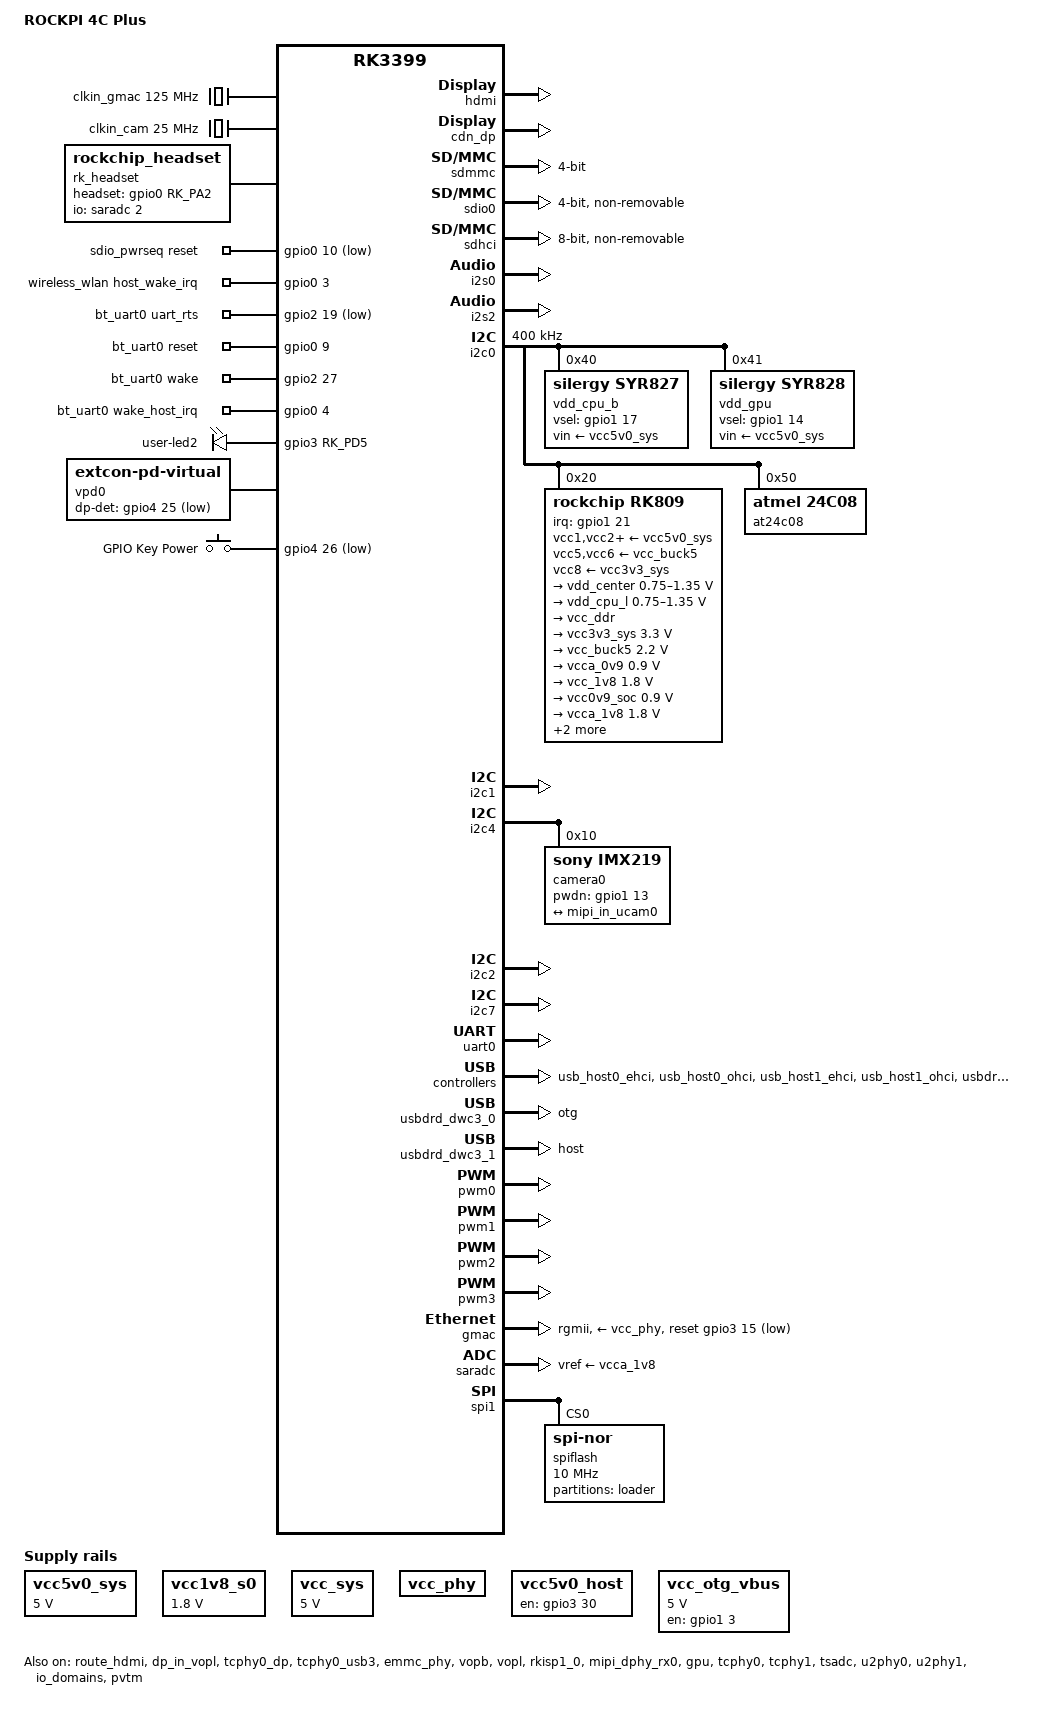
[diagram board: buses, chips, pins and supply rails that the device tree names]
/*
 * Copyright (c) 2016 Fuzhou Rockchip Electronics Co., Ltd
 *
 * This file is dual-licensed: you can use it either under the terms
 * of the GPL or the X11 license, at your option. Note that this dual
 * licensing only applies to this file, and not this project as a
 * whole.
 *
 *  a) This file is free software; you can redistribute it and/or
 *     modify it under the terms of the GNU General Public License as
 *     published by the Free Software Foundation; either version 2 of the
 *     License, or (at your option) any later version.
 *
 *     This file is distributed in the hope that it will be useful,
 *     but WITHOUT ANY WARRANTY; without even the implied warranty of
 *     MERCHANTABILITY or FITNESS FOR A PARTICULAR PURPOSE.  See the
 *     GNU General Public License for more details.
 *
 * Or, alternatively,
 *
 *  b) Permission is hereby granted, free of charge, to any person
 *     obtaining a copy of this software and associated documentation
 *     files (the "Software"), to deal in the Software without
 *     restriction, including without limitation the rights to use,
 *     copy, modify, merge, publish, distribute, sublicense, and/or
 *     sell copies of the Software, and to permit persons to whom the
 *     Software is furnished to do so, subject to the following
 *     conditions:
 *
 *     The above copyright notice and this permission notice shall be
 *     included in all copies or substantial portions of the Software.
 *
 *     THE SOFTWARE IS PROVIDED "AS IS", WITHOUT WARRANTY OF ANY KIND,
 *     EXPRESS OR IMPLIED, INCLUDING BUT NOT LIMITED TO THE WARRANTIES
 *     OF MERCHANTABILITY, FITNESS FOR A PARTICULAR PURPOSE AND
 *     NONINFRINGEMENT. IN NO EVENT SHALL THE AUTHORS OR COPYRIGHT
 *     HOLDERS BE LIABLE FOR ANY CLAIM, DAMAGES OR OTHER LIABILITY,
 *     WHETHER IN AN ACTION OF CONTRACT, TORT OR OTHERWISE, ARISING
 *     FROM, OUT OF OR IN CONNECTION WITH THE SOFTWARE OR THE USE OR
 *     OTHER DEALINGS IN THE SOFTWARE.
 */

/dts-v1/;

#include <dt-bindings/pwm/pwm.h>
#include <dt-bindings/input/input.h>
#include "rk3399.dtsi"
#include "rk3399-android.dtsi"
#include "rk3399-opp.dtsi"
#include "rk3399-vop-clk-set.dtsi"

&firmware_android {
	status = "disabled";
	compatible = "android,firmware";
	boot_devices = "fe330000.sdhci";
	vbmeta {
		status = "disabled";
		compatible = "android,vbmeta";
		parts = "vbmeta,boot,system,vendor,dtbo";
	};
	fstab {
		status = "disabled";
		compatible = "android,fstab";
		vendor {
			compatible = "android,vendor";
			dev = "/dev/block/by-name/vendor";
			type = "ext4";
			mnt_flags = "ro,barrier=1,inode_readahead_blks=8";
			fsmgr_flags = "wait,avb";
		};
	};
};

/ {

	model = "ROCKPI 4C Plus";
	compatible = "rockchip,rockpi","rockchip,rk3399";
	chosen {
	bootargs = "earlycon=uart8250,mmio32,0xff1a0000 swiotlb=1 console=ttyFIQ0 androidboot.baseband=N/A androidboot.veritymode=enforcing androidboot.hardware=rk30board androidboot.console=ttyFIQ0 init=/init initrd=0x62000001,0x00800000 coherent_pool=1m";
	};

	vcc5v0_sys: vcc5v0-sys {
		compatible = "regulator-fixed";
		regulator-name = "vcc5v0_sys";
		regulator-always-on;
		regulator-boot-on;
		regulator-min-microvolt = <5000000>;
		regulator-max-microvolt = <5000000>;
	}; 

	vcc1v8_s0: vcc1v8-s0 {
		compatible = "regulator-fixed";
		regulator-name = "vcc1v8_s0";
		regulator-min-microvolt = <1800000>;
		regulator-max-microvolt = <1800000>;
		regulator-always-on;
	};

	vcc_sys: vcc-sys {
		compatible = "regulator-fixed";
		regulator-name = "vcc_sys";
		regulator-min-microvolt = <5000000>;
		regulator-max-microvolt = <5000000>;
		regulator-always-on;
	};

	vcc_phy: vcc-phy-regulator {
		compatible = "regulator-fixed";
		regulator-name = "vcc_phy";
		regulator-always-on;
		regulator-boot-on;
	};

	vcc5v0_host: vcc5v0-host-regulator {
		compatible = "regulator-fixed";
		enable-active-high;
		gpio = <&gpio3 30 GPIO_ACTIVE_HIGH>;
		pinctrl-names = "default";
		pinctrl-0 = <&host_vbus_drv>;
		regulator-name = "vcc5v0_host";
		regulator-always-on;
		regulator-boot-on;
	};

	vcc_otg_vbus: otg-vbus-regulator {
		compatible = "regulator-fixed";
		gpio = <&gpio1 3 GPIO_ACTIVE_HIGH>;
		pinctrl-names = "default";
		pinctrl-0 = <&otg_vbus_drv>;
		regulator-name = "vcc_otg_vbus";
		regulator-min-microvolt = <5000000>;
		regulator-max-microvolt = <5000000>;
		enable-active-high;
	};

	clkin_gmac: external-gmac-clock {
		compatible = "fixed-clock";
		clock-frequency = <125000000>;
		clock-output-names = "clkin_gmac";
		#clock-cells = <0>;
	};

	clkin_cam: external-camera-clock {
		compatible = "fixed-clock";
		clock-frequency = <25000000>;
		clock-output-names = "cam_clk";
		#clock-cells = <0>;
	};

	rk809_sound: rk809-sound {
		status = "okay";
		compatible = "simple-audio-card";
		simple-audio-card,format = "i2s";
		simple-audio-card,name = "rockchip,rk809-codec";
		simple-audio-card,mclk-fs = <256>;
		simple-audio-card,widgets =
			"Microphone", "Mic Jack",
			"Headphone", "Headphone Jack";
		simple-audio-card,routing =
			"Mic Jack", "MICBIAS1",
			"IN1P", "Mic Jack",
			"Headphone Jack", "HPOL",
			"Headphone Jack", "HPOR";
		simple-audio-card,cpu {
			sound-dai = <&i2s0>;
		};
		simple-audio-card,codec {
			sound-dai = <&rk809_codec>;
		};
	};

	rk_headset: rk-headset {
		status = "okay";
		compatible = "rockchip_headset";
		headset_gpio = <&gpio0 RK_PA2 GPIO_ACTIVE_HIGH>;
		pinctrl-names = "default";
		pinctrl-0 = <&hp_det>;
		io-channels = <&saradc 2>;    //HP_HOOK引脚
	};

	hdmi_sound: hdmi-sound {
		status = "disabled";
		compatible = "simple-audio-card";
		simple-audio-card,format = "i2s";
		simple-audio-card,mclk-fs = <256>;
		simple-audio-card,name = "rockchip,hdmi";

		simple-audio-card,cpu {
			sound-dai = <&i2s2>;
		};
		simple-audio-card,codec {
			sound-dai = <&dw_hdmi_audio>;
		};
	};

	dw_hdmi_audio: dw-hdmi-audio {
		status = "disabled";
		compatible = "rockchip,dw-hdmi-audio";
		#sound-dai-cells = <0>;
	};

	hdmi_codec: hdmi-codec {
		compatible = "simple-audio-card";
		simple-audio-card,format = "i2s";
		simple-audio-card,mclk-fs = <256>;
		simple-audio-card,name = "rockchiphdmi";

		simple-audio-card,cpu {
			sound-dai = <&i2s2>;
		};

		simple-audio-card,codec {
			sound-dai = <&hdmi>;
		};
	};

	spdif-sound {
		status = "disabled";
		compatible = "simple-audio-card";
		simple-audio-card,name = "ROCKCHIP,SPDIF";
		simple-audio-card,cpu {
			sound-dai = <&spdif>;
		};
		simple-audio-card,codec {
			sound-dai = <&spdif_out>;
		};
	};

	spdif_out: spdif-out {
		status = "disabled";
		compatible = "linux,spdif-dit";
		#sound-dai-cells = <0>;
	};

	sdio_pwrseq: sdio-pwrseq {
		compatible = "mmc-pwrseq-simple";
		clocks = <&rk809 1>;
		clock-names = "ext_clock";
		pinctrl-names = "default";
		pinctrl-0 = <&wifi_enable_h>;

		/*
		 * On the module itself this is one of these (depending
		 * on the actual card populated):
		 * - SDIO_RESET_L_WL_REG_ON
		 * - PDN (power down when low)
		 */
		reset-gpios = <&gpio0 10 GPIO_ACTIVE_LOW>;
	};

	wireless_wlan: wireless-wlan {
		compatible = "wlan-platdata";
		rockchip,grf = <&grf>;
		wifi_chip_type = "ap6256";
		sdio_vref = <1800>;
		WIFI,host_wake_irq = <&gpio0 3 GPIO_ACTIVE_HIGH>;
		status = "okay";
	};

	bt_uart0: wireless_bluetooth: wireless-bluetooth {
		compatible = "bluetooth-platdata";
		clocks = <&rk809 1>;
		clock-names = "ext_clock";
		/* wifi-bt-power-toggle; */
		uart_rts_gpios = <&gpio2 19 GPIO_ACTIVE_LOW>;
		pinctrl-names = "default", "rts_gpio";
		pinctrl-0 = <&uart0_rts>;
		pinctrl-1 = <&uart0_gpios>;
		/* BT,power_gpio  = <&gpio3 19 GPIO_ACTIVE_HIGH>; */
		BT,reset_gpio    = <&gpio0 9 GPIO_ACTIVE_HIGH>;
		BT,wake_gpio     = <&gpio2 27 GPIO_ACTIVE_HIGH>;
		BT,wake_host_irq = <&gpio0 4 GPIO_ACTIVE_HIGH>;
		status = "okay";
	};

	gpio-leds {
		compatible = "gpio-leds";
		status = "okay";

		user-led2 {
			gpios = <&gpio3 RK_PD5 GPIO_ACTIVE_HIGH>;
			linux,default-trigger = "heartbeat";
			default-state = "on";
		};
	};

	test-power {
		status = "okay";
	};

	vpd0: virtual-pd0 {
		compatible = "linux,extcon-pd-virtual";
		dp-det-gpios = <&gpio4 25 GPIO_ACTIVE_LOW>;
		/* 0: positive, 1: negative*/
		vpd,init-flip = <0>;
		/* 0: u2, 1: u3*/
		vpd,init-ss = <1>;
		/* 0: dfp, 1: ufp, 2: dp 3: dp/ufp */
		vpd,init-mode = <2>;
	};
};

&hdmi {
	pinctrl-names = "default";
	pinctrl-0 = <&hdmi_i2c_xfer>, <&hdmi_cec>;
	status = "okay";
	rockchip,phy-table =
		<74250000 0x8009 0x0004 0x0272>,
		<165000000 0x802b 0x0004 0x0209>,
		<297000000 0x8039 0x0005 0x028d>,
		<594000000 0x8039 0x0000 0x019d>,
		<000000000 0x0000 0x0000 0x0000>;
};

&dsi {
    status = "disabled";
    rockchip,dual-channel = <&dsi1>;
    enable-gpios = <&gpio1 RK_PC6 GPIO_ACTIVE_HIGH>;

    panel: panel@0 {
        compatible ="simple-panel-dsi";
        reg = <0>;
        status = "okay";

        dsi,flags = <(MIPI_DSI_MODE_VIDEO | MIPI_DSI_MODE_VIDEO_BURST)>;
        dsi,format = <MIPI_DSI_FMT_RGB888>;
        dsi,lanes = <4>;

        display-timings {
            native-mode = <&timing0>;

            timing0: timing0 {
                clock-frequency = <67000000>;
                hactive = <1920>;
                vactive = <1080>;
                hback-porch = <120>;
                hfront-porch = <12>;
                vback-porch = <4>;
                vfront-porch = <4>;
                hsync-len = <112>;
                vsync-len = <12>;
                hsync-active = <0>;
                vsync-active = <0>;
                de-active = <0>;
                pixelclk-active = <0>;
            };
        };
    };
};

&dsi1 {
    status = "disabled";
};

&hdmi_in_vopl {
	status = "disabled";
};

&route_hdmi {
	status = "okay";
};

&dp_in_vopb {
	status = "disabled";
};

&dp_in_vopl {
	status = "okay";
};

&edp_in_vopl {
	status = "disabled";
};

&edp_in_vopb {
	status = "disabled";
};

&edp_in_vopl {
	status = "disabled";
};

&dsi_in_vopl {
    status = "disabled";
};

&dsi_in_vopb {
    status = "disabled";
};

&dsi1_in_vopl {
    status = "disabled";
};

&dsi1_in_vopb {
    status = "disabled";
};

&tcphy0_dp {
	status = "okay";
};

&tcphy0_usb3 {
	status = "okay";
};

&cdn_dp {
	status = "okay";
	extcon = <&vpd0>;
};

&sdmmc {
	clock-frequency = <100000000>;
	clock-freq-min-max = <100000 100000000>;
	supports-sd;
	bus-width = <4>;
	cap-mmc-highspeed;
	cap-sd-highspeed;
	disable-wp;
	num-slots = <1>;
	// sd-uhs-sdr104;
	vqmmc-supply = <&vcc_sd>;
	pinctrl-names = "default";
	pinctrl-0 = <&sdmmc_clk &sdmmc_cmd &sdmmc_cd &sdmmc_bus4>;
	card-detect-delay = <800>;
	status = "okay";
};

&sdio0 {
	clock-frequency = <100000000>;
	clock-freq-min-max = <200000 100000000>;
	supports-sdio;
	bus-width = <4>;
	disable-wp;
	cap-sd-highspeed;
	cap-sdio-irq;
	keep-power-in-suspend;
	mmc-pwrseq = <&sdio_pwrseq>;
	non-removable;
	num-slots = <1>;
	pinctrl-names = "default";
	pinctrl-0 = <&sdio0_bus4 &sdio0_cmd &sdio0_clk>;
	sd-uhs-sdr104;
	status = "okay";
};

&emmc_phy {
	status = "okay";
};

&sdhci {
	max-frequency = <150000000>;
	bus-width = <8>;
	mmc-hs400-1_8v;
	supports-emmc;
	non-removable;
	mmc-hs400-enhanced-strobe;
	status = "okay";
};

&i2s0 {
	status = "okay";
	rockchip,i2s-broken-burst-len;
	rockchip,playback-channels = <2>;
	rockchip,capture-channels = <2>;
	#sound-dai-cells = <0>;
	pinctrl-names = "default";
	pinctrl-0 = <&i2s0_8ch_bus>;
};

&i2s1 {
	status = "disabled";
	#sound-dai-cells = <0>;
};

&i2s2 {
	#sound-dai-cells = <0>;
};

&spdif {
	pinctrl-0 = <&spdif_bus_1>;
	status = "disabled";
	#sound-dai-cells = <0>;
};

&i2c0 {
	status = "okay";
	i2c-scl-rising-time-ns = <168>;
	i2c-scl-falling-time-ns = <4>;
	clock-frequency = <400000>;

	vdd_cpu_b: syr827@40 {
		compatible = "silergy,syr827";
		reg = <0x40>;
		regulator-compatible = "fan53555-reg";
		pinctrl-0 = <&vsel1_gpio>;
		vsel-gpios = <&gpio1 17 GPIO_ACTIVE_HIGH>;
		regulator-name = "vdd_cpu_b";
		regulator-min-microvolt = <712500>;
		regulator-max-microvolt = <1500000>;
		regulator-ramp-delay = <1000>;
		fcs,suspend-voltage-selector = <1>;
		regulator-always-on;
		regulator-boot-on;
		vin-supply = <&vcc5v0_sys>;
		regulator-state-mem {
			regulator-off-in-suspend;
		};
	};

	vdd_gpu: syr828@41 {
		compatible = "silergy,syr828";
		reg = <0x41>;
		regulator-compatible = "fan53555-reg";
		pinctrl-0 = <&vsel2_gpio>;
		vsel-gpios = <&gpio1 14 GPIO_ACTIVE_HIGH>;
		regulator-name = "vdd_gpu";
		regulator-min-microvolt = <712500>;
		regulator-max-microvolt = <1500000>;
		regulator-ramp-delay = <1000>;
		fcs,suspend-voltage-selector = <1>;
		regulator-always-on;
		regulator-boot-on;
		vin-supply = <&vcc5v0_sys>;
		regulator-initial-mode = <1>; /* 1:force PWM 2:auto */
		regulator-state-mem {
			regulator-off-in-suspend;
		};
	};

	rk809: pmic@20 {
		compatible = "rockchip,rk809";
		reg = <0x20>;
		interrupt-parent = <&gpio1>;
		interrupts = <21 IRQ_TYPE_LEVEL_LOW>;
		pinctrl-names = "default", "pmic-sleep",
						"pmic-power-off", "pmic-reset";
		pinctrl-0 = <&pmic_int_l>;
		pinctrl-1 = <&soc_slppin_slp>, <&rk809_slppin_slp>;
		pinctrl-2 = <&soc_slppin_gpio>, <&rk809_slppin_pwrdn>;
		pinctrl-3 = <&soc_slppin_gpio>, <&rk809_slppin_null>;
		rockchip,system-power-controller;
		#clock-cells = <1>;
		pmic-reset-func = <0>;
		wakeup-source;
		clock-output-names = "rk808-clkout1", "rk808-clkout2";

		vcc1-supply = <&vcc5v0_sys>;
		vcc2-supply = <&vcc5v0_sys>;
		vcc3-supply = <&vcc5v0_sys>;
		vcc4-supply = <&vcc5v0_sys>;
		vcc5-supply = <&vcc_buck5>;
		vcc6-supply = <&vcc_buck5>;
		vcc7-supply = <&vcc5v0_sys>;
		vcc8-supply = <&vcc3v3_sys>;
		vcc9-supply = <&vcc5v0_sys>;

		pwrkey {
				status = "okay";
		};

		rk809_rtc: rtc {
				status = "okay";
		};

		pinctrl_rk8xx: pinctrl_rk8xx {
				gpio-controller;
				#gpio-cells = <2>;

				rk809_slppin_null: rk809_slppin_null {
								pins = "gpio_slp";
								function = "pin_fun0";
				};

				rk809_slppin_slp: rk809_slppin_slp {
								pins = "gpio_slp";
								function = "pin_fun1";
				};

				rk809_slppin_pwrdn: rk809_slppin_pwrdn {
								pins = "gpio_slp";
								function = "pin_fun2";
				};

				rk809_slppin_rst: rk809_slppin_rst {
								pins = "gpio_slp";
								function = "pin_fun3";
				};
		};

		regulators {
			vdd_center: DCDC_REG1 {
				regulator-always-on;
				regulator-boot-on;
				regulator-min-microvolt = <750000>;
				regulator-max-microvolt = <1350000>;
				regulator-ramp-delay = <6001>;
				regulator-initial-mode = <0x2>;
				regulator-name = "vdd_center";
				regulator-state-mem {
					regulator-off-in-suspend;
				};
			};

			vdd_cpu_l: DCDC_REG2 {
				regulator-always-on;
				regulator-boot-on;
				regulator-min-microvolt = <750000>;
				regulator-max-microvolt = <1350000>;
				regulator-ramp-delay = <6001>;
				regulator-initial-mode = <0x2>;
				regulator-name = "vdd_cpu_l";
				regulator-state-mem {
					regulator-off-in-suspend;
				};
			};

			vcc_ddr: DCDC_REG3 {
				regulator-always-on;
				regulator-boot-on;
				regulator-name = "vcc_ddr";
				regulator-initial-mode = <0x2>;
				regulator-state-mem {
					regulator-on-in-suspend;
				};
			};

			vcc3v3_sys: DCDC_REG4 {
				regulator-always-on;
				regulator-boot-on;
				regulator-min-microvolt = <3300000>;
				regulator-max-microvolt = <3300000>;
				regulator-initial-mode = <0x2>;
				regulator-name = "vcc3v3_sys";
				regulator-state-mem {
					regulator-on-in-suspend;
					regulator-suspend-microvolt = <3300000>;
				};
			};

			vcc_buck5: DCDC_REG5 {
				regulator-always-on;
				regulator-boot-on;
				regulator-min-microvolt = <2200000>;
				regulator-max-microvolt = <2200000>;
				regulator-name = "vcc_buck5";
				regulator-state-mem {
					regulator-on-in-suspend;
					regulator-suspend-microvolt = <2200000>;
				};
			};

			vcca_0v9: LDO_REG1 {
				regulator-always-on;
				regulator-boot-on;
				regulator-min-microvolt = <900000>;
				regulator-max-microvolt = <900000>;
				regulator-name = "vcca_0v9";
				regulator-state-mem {
					regulator-off-in-suspend;
				};
			};

			vcc_1v8: LDO_REG2 {
				regulator-always-on;
				regulator-boot-on;
				regulator-min-microvolt = <1800000>;
				regulator-max-microvolt = <1800000>;

				regulator-name = "vcc_1v8";
				regulator-state-mem {
					regulator-on-in-suspend;
					regulator-suspend-microvolt = <1800000>;
				};
			};

			vcc0v9_soc: LDO_REG3 {
				regulator-always-on;
				regulator-boot-on;
				regulator-min-microvolt = <900000>;
				regulator-max-microvolt = <900000>;

				regulator-name = "vcc0v9_soc";
				regulator-state-mem {
					regulator-on-in-suspend;
					regulator-suspend-microvolt = <900000>;
				};
			};

			vcca_1v8: LDO_REG4 {
				regulator-always-on;
				regulator-boot-on;
				regulator-min-microvolt = <1800000>;
				regulator-max-microvolt = <1800000>;

				regulator-name = "vcca_1v8";
				regulator-state-mem {
					regulator-off-in-suspend;
				};
			};

			vdd1v5_dvp: LDO_REG5 {
				regulator-always-on;
				regulator-boot-on;
				regulator-min-microvolt = <1500000>;
				regulator-max-microvolt = <1500000>;

				regulator-name = "vdd1v5_dvp";
				regulator-state-mem {
					regulator-off-in-suspend;
				};
			};

			vcc_1v5: LDO_REG6 {
				regulator-always-on;
				regulator-boot-on;
				regulator-min-microvolt = <1500000>;
				regulator-max-microvolt = <1500000>;

				regulator-name = "vcc_1v5";
				regulator-state-mem {
					regulator-off-in-suspend;
				};
			};

			vcc_3v0: LDO_REG7 {
				regulator-always-on;
				regulator-boot-on;
				regulator-min-microvolt = <3000000>;
				regulator-max-microvolt = <3000000>;

				regulator-name = "vcc_3v0";
				regulator-state-mem {
					regulator-off-in-suspend;
				};
			};

			vccio_sd: LDO_REG8 {
				regulator-always-on;
				regulator-boot-on;
				regulator-min-microvolt = <1800000>;
				regulator-max-microvolt = <3300000>;

				regulator-name = "vccio_sd";
				regulator-state-mem {
					regulator-off-in-suspend;
				};
			};

			vcc_sd: LDO_REG9 {
				regulator-always-on;
				regulator-boot-on;
				regulator-min-microvolt = <3300000>;
				regulator-max-microvolt = <3300000>;

				regulator-name = "vcc_sd";
				regulator-state-mem {
					regulator-off-in-suspend;
				};
			};

			vcc5v0_usb: SWITCH_REG1 {
				regulator-always-on;
				regulator-boot-on;
				regulator-name = "vcc5v0_usb";
				regulator-state-mem {
					regulator-on-in-suspend;
				};
			};

			vccio_3v3: SWITCH_REG2 {
				regulator-always-on;
				regulator-boot-on;
				regulator-name = "vccio_3v3";
				regulator-state-mem {
					regulator-off-in-suspend;
				};
			};
		};
		/*
		battery {
			compatible = "rk817,battery";
			ocv_table = <7000 7250 7370 7384 7436 7470 7496
						7520 7548 7576 7604 7632 7668 7706
						7754 7816 7892 7950 8036 8142 8212>;
			design_capacity = <2500>;
			design_qmax = <2750>;
			bat_res = <100>;
			sleep_enter_current = <300>;
			sleep_exit_current = <300>;
			sleep_filter_current = <100>;
			power_off_thresd = <7000>;
			zero_algorithm_vol = <7700>;
			max_soc_offset = <60>;
			monitor_sec = <5>;
			sample_res = <10>;
			virtual_power = <0>;
			bat_res_up = <140>;
			bat_res_down = <20>;
		};
		*/
		rk809_codec: codec {
			#sound-dai-cells = <0>;
			compatible = "rockchip,rk809-codec", "rockchip,rk817-codec";
			clocks = <&cru SCLK_I2S_8CH_OUT>;
			clock-names = "mclk";
			pinctrl-names = "default";
			pinctrl-0 = <&i2s_8ch_mclk>;
			hp-volume = <20>;
			spk-volume = <3>;
			mic-in-differential;
			status = "okay";
		};
	};

    at24c08@50 {
        status = "okay";
        compatible = "atmel,24c08";
        reg = <0x50>;
        pagesize = <8>;
    };
};

&i2c1 {
	status = "okay";
	i2c-scl-rising-time-ns = <300>;
	i2c-scl-falling-time-ns = <15>;

};

&i2c4 {
	status = "okay";

	camera0: camera0-module@10 {
		status = "okay";
		compatible = "sony,imx219";
		reg = <0x10>;

		clocks = <&cru SCLK_CIF_OUT>;
		clock-names = "clk_cif_out";
		pinctrl-names = "rockchip,camera_default";
		pwdn-gpios = <&gpio1 13 GPIO_ACTIVE_HIGH>;
		rockchip,camera-module-index = <0>;
		rockchip,camera-module-facing = "back";
		rockchip,camera-module-name = "default";
		rockchip,camera-module-lens-name = "default";

		port {
			ucam_out0: endpoint {
				remote-endpoint = <&mipi_in_ucam0>;
				data-lanes = <1 2>;
			};
		};
	};

	camera1: camera1-module@36 {
		status = "disabled";
		compatible = "ovti,ov5647";
		reg = <0x36>;

		clocks = <&clkin_cam>;
		clock-names = "xclk";
		pinctrl-names = "rockchip,camera_default";
		pwdn-gpios = <&gpio1 13 GPIO_ACTIVE_HIGH>;
		rockchip,camera-module-index = <0>;
		rockchip,camera-module-facing = "back";
		rockchip,camera-module-name = "default";
		rockchip,camera-module-lens-name = "default";

		port {
			ucam_out1: endpoint {
				remote-endpoint = <&mipi_in_ucam0>;
				data-lanes = <1 2>;
			};
		};
	};
	camera2: camera2-module@36 {
		status = "disabled";
		compatible = "ovti,ov5648";
		reg = <0x36>;

		clocks = <&cru SCLK_CIF_OUT>;
		clock-names = "xvclk";
		pinctrl-names = "rockchip,camera_default";
		pwdn-gpios = <&gpio1 13 GPIO_ACTIVE_HIGH>;

		rockchip,camera-module-index = <0>;
		rockchip,camera-module-facing = "back";
		rockchip,camera-module-name = "default";
		rockchip,camera-module-lens-name = "default";

		port {
			ucam_out2: endpoint {
				remote-endpoint = <&mipi_in_ucam0>;
				data-lanes = <1 2>;
			};
		};
	};
};

&i2c2 {
	status = "okay";
};

&i2c6 {
	status = "disabled";
};

&i2c7 {
	status = "okay";
};

&vopb {
	status = "okay";
};

&vopb_mmu {
	status = "okay";
};

&vopl {
	status = "okay";
};

&vopl_mmu {
	status = "okay";
};

&rkisp1_0 {
	status = "okay";
	port {
		#address-cells = <1>;
		#size-cells = <0>;

		isp0_mipi_in: endpoint@0 {
			reg = <0>;
			remote-endpoint = <&dphy_rx0_out>;
		};
	};
};

&mipi_dphy_rx0 {
	status = "okay";

	ports {
		#address-cells = <1>;
		#size-cells = <0>;

		port@0 {
			reg = <0>;
			#address-cells = <1>;
			#size-cells = <0>;

			mipi_in_ucam0: endpoint@1 {
				reg = <1>;
				remote-endpoint = <&ucam_out0>;
				data-lanes = <1 2>;
			};
		};

		port@1 {
			reg = <1>;
			#address-cells = <1>;
			#size-cells = <0>;

			dphy_rx0_out: endpoint@0 {
				reg = <0>;
				remote-endpoint = <&isp0_mipi_in>;
			};
		};
	};
};

&isp0_mmu {
    status = "okay";
};


&isp1_mmu {
	status = "disabled";
};


&cpu_l0 {
	cpu-supply = <&vdd_cpu_l>;
};

&cpu_l1 {
	cpu-supply = <&vdd_cpu_l>;
};

&cpu_l2 {
	cpu-supply = <&vdd_cpu_l>;
};

&cpu_l3 {
	cpu-supply = <&vdd_cpu_l>;
};

&cpu_b0 {
	cpu-supply = <&vdd_cpu_b>;
};

&cpu_b1 {
	cpu-supply = <&vdd_cpu_b>;
};

&gpu {
	status = "okay";
	mali-supply = <&vdd_gpu>;
};

&threshold {
	temperature = <85000>;
};

&target {
	temperature = <100000>;
};

&soc_crit {
	temperature = <105000>;
};

&tcphy0 {
	extcon = <&vpd0>;
	status = "okay";
};

&tcphy1 {
	status = "okay";
};

&tsadc {
	/* tshut mode 0:CRU 1:GPIO */
	rockchip,hw-tshut-mode = <1>;
	/* tshut polarity 0:LOW 1:HIGH */
	rockchip,hw-tshut-polarity = <1>;
	rockchip,hw-tshut-temp = <110000>;
	status = "okay";
};

&u2phy0 {
	status = "okay";

	u2phy0_otg: otg-port {
		vbus-supply = <&vcc_otg_vbus>;
		status = "okay";
	};

	u2phy0_host: host-port {
		phy-supply = <&vcc5v0_host>;
		status = "okay";
	};
};

&u2phy1 {
	status = "okay";

	u2phy1_otg: otg-port {
		status = "okay";
	};

	u2phy1_host: host-port {
		phy-supply = <&vcc5v0_host>;
		status = "okay";
	};
};

&uart0 {
	pinctrl-names = "default";
	pinctrl-0 = <&uart0_xfer &uart0_cts>;
	status = "okay";
};

&uart2 {
	status = "disabled";
};

/*&uart4 {
	status = "okay";
}; */

&usb_host0_ehci {
	status = "okay";
};

&usb_host0_ohci {
	status = "okay";
};

&usb_host1_ehci {
	status = "okay";
};

&usb_host1_ohci {
	status = "okay";
};

&usbdrd3_0 {
	status = "okay";
};

&usbdrd_dwc3_0 {
	dr_mode = "otg";
	extcon = <&u2phy0>;
	status = "okay";
};

&usbdrd3_1 {
	status = "okay";
};

&usbdrd_dwc3_1 {
	dr_mode = "host";
	status = "okay";
};

&usb_host0_ehci {
	status = "okay";
};

&usb_host0_ohci {
	status = "okay";
};

&usb_host1_ehci {
	status = "okay";
};

&usb_host1_ohci {
	status = "okay";
};

&pwm0 {
	status = "okay";
};

&pwm1 {
	status = "okay";
};

&pwm2 {
	status = "okay";
};

&pwm3 {
	status = "okay";

	interrupts = <GIC_SPI 61 IRQ_TYPE_LEVEL_HIGH 0>;
	compatible = "rockchip,remotectl-pwm";
	remote_pwm_id = <3>;
	handle_cpu_id = <1>;
	remote_support_psci = <1>;

	ir_key1 {
		rockchip,usercode = <0x4040>;
		rockchip,key_table =
			<0xf2	KEY_REPLY>,
			<0xba	KEY_BACK>,
			<0xf4	KEY_UP>,
			<0xf1	KEY_DOWN>,
			<0xef	KEY_LEFT>,
			<0xee	KEY_RIGHT>,
			<0xbd	KEY_HOME>,
			<0xea	KEY_VOLUMEUP>,
			<0xe3	KEY_VOLUMEDOWN>,
			<0xe2	KEY_SEARCH>,
			<0xb2	KEY_POWER>,
			<0xbc	KEY_MUTE>,
			<0xec	KEY_MENU>,
			<0xbf	0x190>,
			<0xe0	0x191>,
			<0xe1	0x192>,
			<0xe9	183>,
			<0xe6	248>,
			<0xe8	185>,
			<0xe7	186>,
			<0xf0	388>,
			<0xbe	0x175>;
	};

	ir_key2 {
		rockchip,usercode = <0xff00>;
		rockchip,key_table =
			<0xf9	KEY_HOME>,
			<0xbf	KEY_BACK>,
			<0xfb	KEY_MENU>,
			<0xaa	KEY_REPLY>,
			<0xb9	KEY_UP>,
			<0xe9	KEY_DOWN>,
			<0xb8	KEY_LEFT>,
			<0xea	KEY_RIGHT>,
			<0xeb	KEY_VOLUMEDOWN>,
			<0xef	KEY_VOLUMEUP>,
			<0xf7	KEY_MUTE>,
			<0xe7	KEY_POWER>,
			<0xfc	KEY_POWER>,
			<0xa9	KEY_VOLUMEDOWN>,
			<0xa8	KEY_VOLUMEDOWN>,
			<0xe0	KEY_VOLUMEDOWN>,
			<0xa5	KEY_VOLUMEDOWN>,
			<0xab	183>,
			<0xb7	388>,
			<0xe8	388>,
			<0xf8	184>,
			<0xaf	185>,
			<0xed	KEY_VOLUMEDOWN>,
			<0xee	186>,
			<0xb3	KEY_VOLUMEDOWN>,
			<0xf1	KEY_VOLUMEDOWN>,
			<0xf2	KEY_VOLUMEDOWN>,
			<0xf3	KEY_SEARCH>,
			<0xb4	KEY_VOLUMEDOWN>,
			<0xbe	KEY_SEARCH>;
	};

	ir_key3 {
		rockchip,usercode = <0x1dcc>;
		rockchip,key_table =
			<0xee	KEY_REPLY>,
			<0xf0	KEY_BACK>,
			<0xf8	KEY_UP>,
			<0xbb	KEY_DOWN>,
			<0xef	KEY_LEFT>,
			<0xed	KEY_RIGHT>,
			<0xfc	KEY_HOME>,
			<0xf1	KEY_VOLUMEUP>,
			<0xfd	KEY_VOLUMEDOWN>,
			<0xb7	KEY_SEARCH>,
			<0xff	KEY_POWER>,
			<0xf3	KEY_MUTE>,
			<0xbf	KEY_MENU>,
			<0xf9	0x191>,
			<0xf5	0x192>,
			<0xb3	388>,
			<0xbe	KEY_1>,
			<0xba	KEY_2>,
			<0xb2	KEY_3>,
			<0xbd	KEY_4>,
			<0xf9	KEY_5>,
			<0xb1	KEY_6>,
			<0xfc	KEY_7>,
			<0xf8	KEY_8>,
			<0xb0	KEY_9>,
			<0xb6	KEY_0>,
			<0xb5	KEY_BACKSPACE>;
	};
};

&gpio_keys {
    status = "okay";
    autorepeat;
	pinctrl-names = "default";
	pinctrl-0 = <&pwrbtn>;

	power {
		debounce-interval = <100>;
		gpios = <&gpio4 26 GPIO_ACTIVE_LOW>;
		label = "GPIO Key Power";
		linux,code = <KEY_POWER>;
		wakeup-source;
	};
};

&gmac {
	phy-supply = <&vcc_phy>;
	phy-mode = "rgmii";
	clock_in_out = "input";
	snps,reset-gpio = <&gpio3 15 GPIO_ACTIVE_LOW>;
	snps,reset-active-low;
	snps,reset-delays-us = <0 10000 50000>;
	assigned-clocks = <&cru SCLK_RMII_SRC>;
	assigned-clock-parents = <&clkin_gmac>;
	pinctrl-names = "default", "sleep";
	pinctrl-0 = <&rgmii_pins>;
	pinctrl-1 = <&rgmii_sleep_pins>;
	tx_delay = <0x28>;
	rx_delay = <0x11>;
	status = "okay";
};

&saradc {
	status = "okay";
	vref-supply = <&vcca_1v8>;
};

&i2s2 {
	status = "okay";
};

&io_domains {
	status = "okay";

	bt656-supply = <&vcc_1v5>; /* bt656_gpio2ab_ms */
	audio-supply = <&vcca_1v8>; /* audio_gpio3d4a_ms */
	sdmmc-supply = <&vccio_sd>; /* sdmmc_gpio4b_ms */
	gpio1830-supply = <&vcc_3v0>; /* gpio1833_gpio4cd_ms */
};

&pcie_phy {
	status = "disabled";
};

&pcie0 {
	ep-gpios = <&gpio4 RK_PD3 GPIO_ACTIVE_HIGH>;
	num-lanes = <4>;
	pinctrl-names = "default";
	pinctrl-0 = <&pcie_clkreqnb_cpm>;
	status = "disalbed";
};

&spi1 {
	status = "okay";
	max-freq = <10000000>;

	spidev@0 {
	    compatible = "rockchip,spidev";
	    status = "disabled";
	    spi-max-frequency = <10000000>;
	    reg = <0x0>;
    };

	spiflash: spi-flash@0 {
		#address-cells = <0x1>;
		#size-cells = <1>;
		compatible = "jedec,spi-nor";
		reg = <0x0>;
		spi-max-frequency = <10000000>;
		status = "okay";

		partitions {
			compatible = "fixed-partitions";
			#address-cells = <1>;
			#size-cells = <1>;

			loader@0 {
				label = "loader";
				reg = <0x0 0x400000>;
			};
		};
	};
};

/*&spi2 {
	status = "okay";
	max-freq = <48000000>;

	spidev@0 {
	    compatible = "rockchip,spidev";
	    spi-max-frequency = <48000000>;
	    status = "okay";
	    reg = <0x0>;
    };
};*/

&dmc {
	status = "disabled";
	center-supply = <&vdd_center>;
	upthreshold = <40>;
	downdifferential = <20>;
	system-status-freq = <
		/*system status         freq(KHz)*/
		SYS_STATUS_NORMAL       800000
		SYS_STATUS_REBOOT       528000
		SYS_STATUS_SUSPEND      200000
		SYS_STATUS_VIDEO_1080P  200000
		SYS_STATUS_VIDEO_4K     600000
		SYS_STATUS_VIDEO_4K_10B 800000
		SYS_STATUS_PERFORMANCE  800000
		SYS_STATUS_BOOST        400000
		SYS_STATUS_DUALVIEW     600000
		SYS_STATUS_ISP          600000
	>;
	vop-bw-dmc-freq = <
	/* min_bw(MB/s) max_bw(MB/s) freq(KHz) */
		0       762      200000
		763     1893     400000
		1894    3012     528000
		3013    99999    800000
	>;

	auto-min-freq = <200000>;
};

&pinctrl {
	sdio0 {
		sdio0_bus1: sdio0-bus1 {
			rockchip,pins =
				<2 20 RK_FUNC_1 &pcfg_pull_up_20ma>;
		};

		sdio0_bus4: sdio0-bus4 {
			rockchip,pins =
				<2 20 RK_FUNC_1 &pcfg_pull_up_20ma>,
				<2 21 RK_FUNC_1 &pcfg_pull_up_20ma>,
				<2 22 RK_FUNC_1 &pcfg_pull_up_20ma>,
				<2 23 RK_FUNC_1 &pcfg_pull_up_20ma>;
		};

		sdio0_cmd: sdio0-cmd {
			rockchip,pins =
				<2 24 RK_FUNC_1 &pcfg_pull_up_20ma>;
		};

		sdio0_clk: sdio0-clk {
			rockchip,pins =
				<2 25 RK_FUNC_1 &pcfg_pull_none_20ma>;
		};
	};

	sdmmc {
		sdmmc_bus1: sdmmc-bus1 {
			rockchip,pins =
				<4 8 RK_FUNC_1 &pcfg_pull_up_8ma>;
		};

		sdmmc_bus4: sdmmc-bus4 {
			rockchip,pins =
				<4 8 RK_FUNC_1 &pcfg_pull_up_8ma>,
				<4 9 RK_FUNC_1 &pcfg_pull_up_8ma>,
				<4 10 RK_FUNC_1 &pcfg_pull_up_8ma>,
				<4 11 RK_FUNC_1 &pcfg_pull_up_8ma>;
		};

		sdmmc_clk: sdmmc-clk {
			rockchip,pins =
				<4 12 RK_FUNC_1 &pcfg_pull_none_18ma>;
		};

		sdmmc_cmd: sdmmc-cmd {
			rockchip,pins =
				<4 13 RK_FUNC_1 &pcfg_pull_up_8ma>;
		};
	};

	sdio-pwrseq {
		wifi_enable_h: wifi-enable-h {
			rockchip,pins =
				<0 10 RK_FUNC_GPIO &pcfg_pull_none>;
		};
	};

	wireless-bluetooth {
		uart0_gpios: uart0-gpios {
			rockchip,pins =
				<2 19 RK_FUNC_GPIO &pcfg_pull_none>;
		};
	};

	usb{
		otg_vbus_drv: otg-vbus-drv {
			rockchip,pins =
				<1 3 RK_FUNC_GPIO &pcfg_pull_none>;
		};
	};

	usb2 {
		host_vbus_drv: host-vbus-drv {
			rockchip,pins =
				<3 30 RK_FUNC_GPIO &pcfg_pull_none>;
		};
	};

	pmic {
		pmic_int_l: pmic-int-l {
			rockchip,pins =
				<1 RK_PC5 RK_FUNC_GPIO &pcfg_pull_up>;
		};

		vsel1_gpio: vsel1-gpio {
			rockchip,pins =
				<1 RK_PC1 RK_FUNC_GPIO &pcfg_pull_down>;
		};

		vsel2_gpio: vsel2-gpio {
			rockchip,pins =
				<1 RK_PB6 RK_FUNC_GPIO &pcfg_pull_down>;
		};

		soc_slppin_gpio: soc-slppin-gpio {
			rockchip,pins =
				<1 RK_PA5 RK_FUNC_GPIO &pcfg_output_low>;
		};

		soc_slppin_slp: soc-slppin-slp {
			rockchip,pins =
				<1 RK_PA5 1 &pcfg_pull_none>;
		};
	};

	gmac {
		rgmii_sleep_pins: rgmii-sleep-pins {
			rockchip,pins =
				<3 15 RK_FUNC_GPIO &pcfg_output_low>;
		};
	};

	i2s0 {
	    i2s0_8ch_bus: i2s0-8ch-bus {
	        rockchip,pins =
	            <3 24 RK_FUNC_1 &pcfg_pull_none>,
	            <3 25 RK_FUNC_1 &pcfg_pull_none>,
	            <3 26 RK_FUNC_1 &pcfg_pull_none>,
	            <3 27 RK_FUNC_1 &pcfg_pull_none>,
	            <3 31 RK_FUNC_1 &pcfg_pull_none>;
	    };

	    i2s_8ch_mclk: i2s-8ch-mclk {
	        rockchip,pins = <4 0 RK_FUNC_1 &pcfg_pull_none>;
	    };
	};

	headphone {
		hp_det: hp-det {
			rockchip,pins = <0 RK_PA2 RK_FUNC_GPIO &pcfg_pull_up>;
		};
	};
};

&pvtm {
	status = "okay";
};

&pmu_pvtm {
	status = "okay";
};

&pmu_io_domains {
	status = "okay";
	pmu1830-supply = <&vcc_3v0>;
};

&rockchip_suspend {
	status = "okay";
	rockchip,sleep-debug-en = <0>;
	rockchip,sleep-mode-config = <
		(0
		| RKPM_SLP_ARMPD
		| RKPM_SLP_PERILPPD
		| RKPM_SLP_DDR_RET
		| RKPM_SLP_PLLPD
		| RKPM_SLP_CENTER_PD
		| RKPM_SLP_AP_PWROFF
		)
	>;
	rockchip,wakeup-config = <
		(0
		| RKPM_GPIO_WKUP_EN
		| RKPM_PWM_WKUP_EN
		)
	>;
	rockchip,pwm-regulator-config = <
		(0
		| PWM2_REGULATOR_EN
		)
	>;
	rockchip,power-ctrl =
		<&gpio1 17 GPIO_ACTIVE_HIGH>,
		<&gpio1 14 GPIO_ACTIVE_HIGH>;
};

&vopb {
	assigned-clocks = <&cru DCLK_VOP0_DIV>;
	assigned-clock-parents = <&cru PLL_VPLL>;
};

&vopl {
	assigned-clocks = <&cru DCLK_VOP1_DIV>;
	assigned-clock-parents = <&cru PLL_CPLL>;
};
